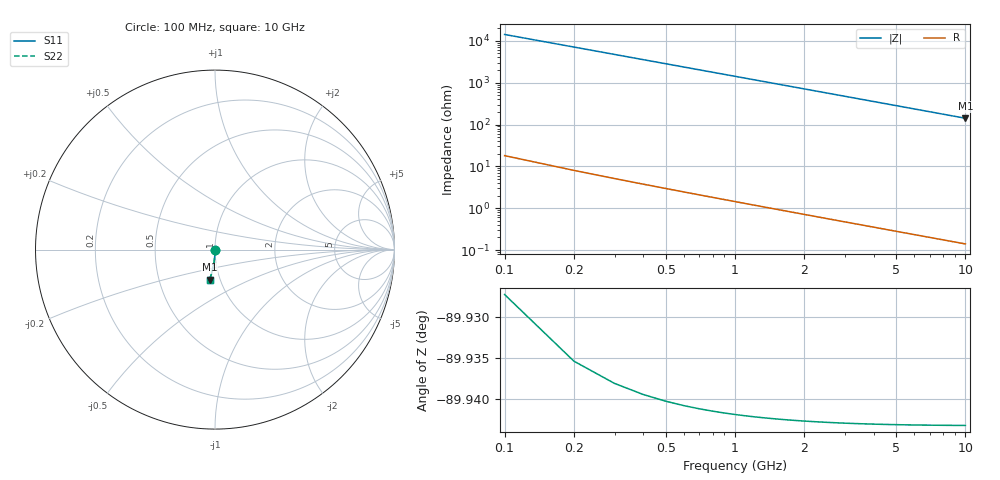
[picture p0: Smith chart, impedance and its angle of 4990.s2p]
# Hz S RI R 50.00
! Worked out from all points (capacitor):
!   100 points, 100 MHz to 10 GHz, reference 50 ohm
!   read as one part in shunt: C = 112 fF near 100 MHz
!   lowest |Z| = 141 ohm at 10 GHz (marker M1)
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1e8  4.4e-06 -0.00172  1 -0.0018  1 -0.0018  4.4e-06 -0.00172
2e8  -6.56e-06 -0.00343  1 -0.00361  1 -0.00361  -6.56e-06 -0.00343
3e8  -2.37e-05 -0.00515  1 -0.00541  1 -0.00541  -2.37e-05 -0.00515
4e8  -4.71e-05 -0.00686  0.9999 -0.00722  0.9999 -0.00722  -4.71e-05 -0.00686
5e8  -7.67e-05 -0.00858  0.9999 -0.00902  0.9999 -0.00902  -7.67e-05 -0.00858
6e8  -0.000112 -0.0103  0.9999 -0.0108  0.9999 -0.0108  -0.000112 -0.0103
7e8  -0.000154 -0.012  0.9998 -0.0126  0.9998 -0.0126  -0.000154 -0.012
8e8  -0.000203 -0.0137  0.9998 -0.0144  0.9998 -0.0144  -0.000203 -0.0137
9e8  -0.000257 -0.0154  0.9997 -0.0162  0.9997 -0.0162  -0.000257 -0.0154
1.1e9  -0.000384 -0.0189  0.9996 -0.0199  0.9996 -0.0199  -0.000384 -0.0189
1.4e9  -0.000622 -0.024  0.9994 -0.0253  0.9994 -0.0253  -0.000622 -0.024
1.8e9  -0.00103 -0.0309  0.999 -0.0325  0.999 -0.0325  -0.00103 -0.0309
2.1e9  -0.00139 -0.036  0.9986 -0.0379  0.9986 -0.0379  -0.00139 -0.036
2.5e9  -0.00197 -0.0429  0.998 -0.0451  0.998 -0.0451  -0.00197 -0.0429
2.9e9  -0.00265 -0.0497  0.9973 -0.0523  0.9973 -0.0523  -0.00265 -0.0497
3.4e9  -0.00363 -0.0583  0.9963 -0.0613  0.9963 -0.0613  -0.00363 -0.0583
4.2e9  -0.00553 -0.0719  0.9944 -0.0756  0.9944 -0.0756  -0.00553 -0.0719
5.1e9  -0.00813 -0.0871  0.9918 -0.0917  0.9918 -0.0917  -0.00813 -0.0871
5.9e9  -0.0108 -0.1005  0.9891 -0.1058  0.9891 -0.1058  -0.0108 -0.1005
6.7e9  -0.0139 -0.1139  0.986 -0.1199  0.986 -0.1199  -0.0139 -0.1139
8.4e9  -0.0218 -0.1417  0.9782 -0.1493  0.9782 -0.1493  -0.0218 -0.1417
1e10  -0.0306 -0.1672  0.9693 -0.1764  0.9693 -0.1764  -0.0306 -0.1672
